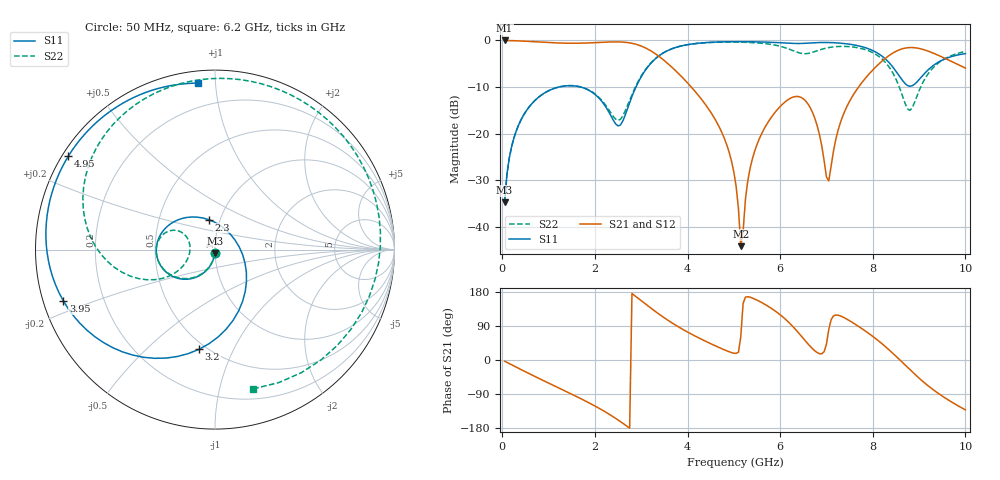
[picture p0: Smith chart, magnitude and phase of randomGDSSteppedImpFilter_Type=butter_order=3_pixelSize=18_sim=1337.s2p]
! freq	dB(S11)	phase(S11)	dB(S12)	phase(S12)
!  dB(S21)	phase(S21)	dB(S22)	phase(S22)
!S-par simulation data
#  GHz  S  DB  R 50
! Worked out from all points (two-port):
!   200 points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, 50 MHz to 10 GHz, reference 50 ohm
!   highest |S21| = -0.01 dB at 50 MHz (marker M1); lowest = -44.1 dB at 5.15 GHz (marker M2)
!   |S21| within 3 dB of the highest: start of sweep to 3.327 GHz; 8.387 GHz to 9.373 GHz (986.3 MHz wide, 11.1 % of centre)
!   lowest |S11| = -34.7 dB at 50 MHz (marker M3), VSWR 1.04, Z = 49.9 - j1.83 ohm
!   |S11| at or under -10 dB: start of sweep to 1.219 GHz; 1.692 GHz to 2.887 GHz (1.195 GHz wide, 52.2 % of centre)
!   |S22| runs from -34.7 to -0.4 dB; largest |S21 - S12| = 0
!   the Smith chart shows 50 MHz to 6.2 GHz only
!   S11 on the Smith chart (normalised r, x): 50 MHz: 1.00, -0.04; 2.3 GHz: 0.88, +0.30; 3.2 GHz: 0.46, -0.74; 3.95 GHz: 0.06, -0.16; 4.95 GHz: 0.02, +0.29; 6.2 GHz: 0.06, +0.90
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0.05  -34.72 -93.2  -0.01 -3.2  -0.01 -3.2  -34.72 -93.3
0.5  -15.37 -121.1  -0.17 -31.1  -0.17 -31.1  -15.37 -122.1
1.75  -10.17 161.6  -0.58 -105.4  -0.58 -105.4  -10.14 167.3
2.3  -15.33 102.1  -0.34 -142.5  -0.34 -142.5  -14.88 154.7
2.55  -18.14 25.0  -0.33 -162.4  -0.33 -162.4  -16.93 -172.7
3.2  -5.00 -99.1  -2.19 137.7  -2.19 137.7  -4.91 -169.9
3.4  -3.19 -119.0  -3.54 119.7  -3.54 119.7  -3.15 174.3
3.95  -1.00 -161.2  -8.58 77.2  -8.58 77.2  -1.00 132.4
4.95  -0.28 147.4  -25.90 19.6  -25.90 19.6  -0.36 64.1
5.05  -0.27 143.1  -31.35 17.5  -31.35 17.5  -0.36 56.9
5.15  -0.27 138.8  -44.13 62.0  -44.13 62.0  -0.38 49.5
5.45  -0.30 126.2  -23.73 161.0  -23.73 161.0  -0.50 25.1
5.85  -0.42 109.7  -15.94 133.0  -15.94 133.0  -0.93 -16.7
6.2  -0.60 95.8  -12.52 97.7  -12.52 97.7  -1.89 -74.7
6.5  -0.64 84.4  -12.52 56.8  -12.52 56.8  -2.83 -154.8
6.7  -0.53 75.9  -15.47 29.6  -15.47 29.6  -2.55 145.9
7.05  -0.45 58.4  -30.13 80.5  -30.13 80.5  -1.53 71.0
7.45  -0.75 35.9  -14.00 107.1  -14.00 107.1  -1.31 18.0
8.35  -4.74 -22.6  -3.25 27.0  -3.25 27.0  -5.67 -85.0
8.8  -9.83 -17.5  -1.53 -25.4  -1.53 -25.4  -15.01 149.2
9.1  -7.28 -7.7  -1.98 -58.6  -1.98 -58.6  -8.68 57.7
10  -2.84 -68.7  -5.92 -131.6  -5.92 -131.6  -2.36 -22.0
